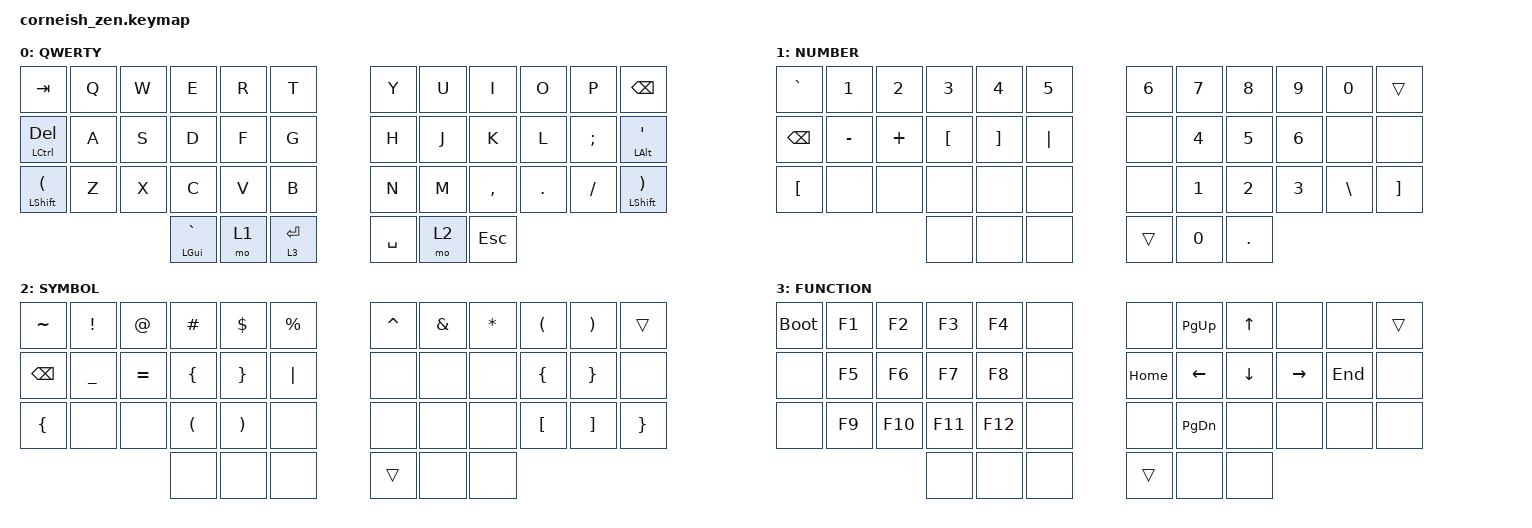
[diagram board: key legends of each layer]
#include <behaviors.dtsi>
#include <dt-bindings/zmk/keys.h>
#include <dt-bindings/zmk/bt.h>

/ {
  chosen {
    zmk,matrix_transform = &default_transform;
    //zmk,matrix_transform = &five_column_transform;
  };
};

&mt {
        tapping-term-ms = <200>;
        quick-tap-ms = <200>;
};

&lt {
        tapping-term-ms = <150>;
        quick-tap-ms = <0>;
};

/ {
        keymap {
                compatible = "zmk,keymap";

                default_layer {
                        label = "QWERTY";
                        bindings = <
// -------------------------------------------------------------------------------------------------------------------------
// |  -------   -----   -----   -----   -----   -----                     -----   -----   -----   -----   -----   -------  |
// | |  TAB  | |  Q  | |  W  | |  E  | |  R  | |  T  |                   |  Y  | |  U  | |  I  | |  O  | |  P  | |  BCK  | |
// |  -------   -----   -----   -----   -----   -----                     -----   -----   -----   -----   -----   -------  |
// |  -------   -----   -----   -----   -----   -----                     -----   -----   -----   -----   -----   -------  |
// | |CTRLDEL| |  A  | |  S  | |  D  | |  F  | |  G  |                   |  H  | |  J  | |  K  | |  L  | |  :  | | ALT ' | |
// |  -------   -----   -----   -----   -----   -----                     -----   -----   -----   -----   -----   -------  |
// |  -------   -----   -----   -----   -----   -----                     -----   -----   -----   -----   -----   -------  |
// | | SFT ( | |  Z  | |  X  | |  C  | |  V  | |  B  |                   |  N  | |  M  | |  ,  | |  .  | |  /  | | SFT ) | |
// |  -------   -----   -----   -----   -----   -----                     -----   -----   -----   -----   -----   -------  |
// |                     -----------   ------   -----                     -------   -----   -----                          |
// |                    | WIN GRAVE | | _NUM | | ENT |                   | SPACE | | SYM | | ESC |                         |
// |                     -----------   ------   -----                     -------   -----   -----                          |
// -------------------------------------------------------------------------------------------------------------------------
                        
   &kp TAB          &kp Q   &kp W   &kp E   &kp R    &kp T          &kp Y     &kp U   &kp I       &kp O     &kp P      &kp BSPC
   &mt LCTRL DEL    &kp A   &kp S   &kp D   &kp F    &kp G          &kp H     &kp J   &kp K       &kp L     &kp SEMI   &mt LALT SQT
   &mt LSHFT LPAR   &kp Z   &kp X   &kp C   &kp V    &kp B          &kp N     &kp M   &kp COMMA   &kp DOT   &kp FSLH   &mt LSHFT RPAR  
                            &mt LGUI GRAVE  &mo 1    &lt 3 RET      &kp SPACE &mo 2   &kp ESC
                        >;
                };

                lower_layer {
                        label = "NUMBER";
                        bindings = <
// ----------------------------------------------------------------------------------------------------------------------
// |  -------   -----   -----   -----   -----   -----                  -----   -----   -----   -----   -----   -------  |
// | | GRAVE | |  1  | |  2  | |  3  | |  4  | |  5  |                |  6  | |  7  | |  8  | |  9  | |  0  | |  BCK  | |
// |  -------   -----   -----   -----   -----   -----                  -----   -----   -----   -----   -----   -------  |
// |  -------   -----   -----   -----   -----   -----                  -----   -----   -----   -----   -----   -------  |
// | |  BCK  | |  -  | |  +  | |  [  | |  ]  | |  |  |                |     | |  4  | |  5  | |  6  | |     | |       | |
// |  -------   -----   -----   -----   -----   -----                  -----   -----   -----   -----   -----   -------  |
// |  -------   -----   -----   -----   -----   -----                  -----   -----   -----   -----   -----   -------  |
// | |   [   | |     | |     | |    |  |     | |     |                |  0  | |  1  | |  2  | |  3  | |  \  | |   ]   | |
// |  -------   -----   -----   -----   -----   -----                  -----   -----   -----   -----   -----   -------  |
// |                                    -----   -----       ----       -----   -----                                    |
// |                                   |     | |     |     |    |     | SPC | |     |                                   |
// |                                    -----   -----       ----       -----   -----                                    |
// ----------------------------------------------------------------------------------------------------------------------

&kp GRAVE       &kp N1      &kp N2     &kp N3     &kp N4     &kp N5       &kp N6   &kp N7   &kp N8   &kp N9   &kp N0    &trans
&kp BACKSPACE   &kp MINUS   &kp PLUS   &kp LBKT   &kp RBKT   &kp PIPE     &none    &kp N4   &kp N5   &kp N6   &none     &none
&kp LBKT        &none       &none      &none      &none      &none        &none    &kp N1   &kp N2   &kp N3   &kp BSLH  &kp RBKT      
                                       &none      &none      &none        &trans   &kp N0   &kp DOT
                        >;
                };

                raise_layer {
                        label = "SYMBOL";
                        bindings = < 
// ----------------------------------------------------------------------------------------------------------------------
// |  -------   -----   -----   -----   -----   -----                  -----   -----   -----   -----   -----   -------  |
// | |   ~   | |  !  | |  @  | |  #  | |  #  | |  $  |                |  ^  | |  &  | |  *  | |  (  | |  )  | |  BCK  | |
// |  -------   -----   -----   -----   -----   -----                  -----   -----   -----   -----   -----   -------  |
// |  -------   -----   -----   -----   -----   -----                  -----   -----   -----   -----   -----   -------  |
// | |  BCK  | |  _  | |  =  | |  {  | |  }  | |  |  |                |     | |     | |     | |  {  | |  }  | |       | |
// |  -------   -----   -----   -----   -----   -----                  -----   -----   -----   -----   -----   -------  |
// |  -------   -----   -----   -----   -----   -----                  -----   -----   -----   -----   -----   -------  |
// | |   {   | |     | |     | |  ( | |   )  | |     |                |     | |     | |     | |  [  | |  ]  | |   }   | |
// |  -------   -----   -----   -----   -----   -----       ----       -----   -----   -----   -----   -----   -------  |
// |                                    -----   -----       ----       -----   -----                                    |
// |                                   |     | |     |     |    |     | SPC | |     |                                   |
// |                                    -----   -----       ----       -----   -----                                    |
// ----------------------------------------------------------------------------------------------------------------------

&kp TILDE       &kp EXCL    &kp AT      &kp HASH   &kp DLLR   &kp PRCNT           &kp CARET   &kp AMPS   &kp STAR   &kp LPAR   &kp RPAR   &trans
&kp BACKSPACE   &kp UNDER   &kp EQUAL   &kp LBRC   &kp RBRC   &kp PIPE            &none       &none      &none      &kp LBRC   &kp RBRC   &none
&kp LBRC        &none       &none       &kp LPAR   &kp RPAR   &none               &none       &none      &none      &kp LBKT   &kp RBKT   &kp RBRC      
                                        &none      &none      &none               &trans      &none      &none 
                        >;
                };

                function_layer {
                        label = "FUNCTION";
                        bindings = < 
// ----------------------------------------------------------------------------------------------------------------------
// |  -------   -----   -----   -----   -----   -----                  -----   -----   -----   -----   -----   -------  |
// | | BOOT  | | F1  | | F2  | | F3  | | F4  | | BT0 |                |     | |PG_UP| | UP  | |     | |     | |  BCK  | |
// |  -------   -----   -----   -----   -----   -----                  -----   -----   -----   -----   -----   -------  |
// |  -------   -----   -----   -----   -----   -----                  -----   -----   -----   -----   -----   -------  |
// | |       | | F5  | | F6  | | F7  | | F8  | | BT1 |                |HOME | |LEFT | |DOWN | |RIGHT| | END | |       | |
// |  -------   -----   -----   -----   -----   -----                  -----   -----   -----   -----   -----   -------  |
// |  -------   -----   -----   -----   -----   -----                  -----   -----   -----   -----   -----   -------  |
// | |       | | F9  | | F10 | | F1l | | F12 | | BT2 |                |     | |PG_DN| |     | |     | |     | |       | |
// |  -------   -----   -----   -----   -----   -----                  -----   -----   -----   -----   -----   -------  |
// |                                    -----   -----       ----       -----   -----                                    |
// |                                   |     | |     |     |    |     | SPC | |     |                                   |
// |                                    -----   -----       ----       -----   -----                                    |
// ----------------------------------------------------------------------------------------------------------------------

&bootloader  &kp F1   &kp F2    &kp F3    &kp F4    &none      &none      &kp PG_UP   &kp UP     &none       &none     &trans
&none        &kp F5   &kp F6    &kp F7    &kp F8    &none      &kp HOME   &kp LEFT    &kp DOWN   &kp RIGHT   &kp END   &none
&none        &kp F9   &kp F10   &kp F11   &kp F12   &none      &none      &kp PG_DN   &none      &none       &none     &none
                                &none     &none     &none      &trans     &none       &none
                        >;
                };
        };
};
